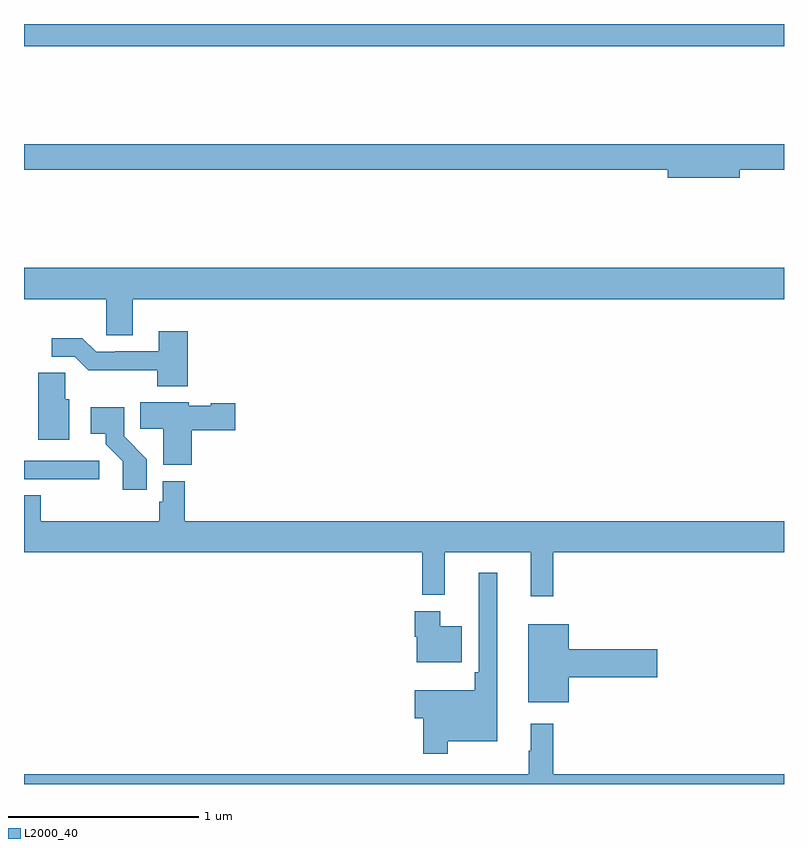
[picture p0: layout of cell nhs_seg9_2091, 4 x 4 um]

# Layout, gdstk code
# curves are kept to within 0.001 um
import gdstk
lib = gdstk.Library(unit=1e-6, precision=1e-09)
def R(c, l, rs):  # rectangles x0, y0, x1, y1
    for r in rs: c.add(gdstk.rectangle(r[:2], r[2:], *l))
def P(c, l, *ps):  # polygons
    for p in ps: c.add(gdstk.Polygon(p, *l))
L2000_40 = (2000, 40)

nhs_seg9_2091 = lib.new_cell('nhs_seg9_2091')
R(nhs_seg9_2091, L2000_40, [(229,1232.384,233,1232.5)])
P(nhs_seg9_2091, L2000_40, [(232.768,1231.732),(233,1231.732),(233,1231.868),(229,1231.868),(229,1231.732),(232.388,1231.732),(232.388,1231.69),(232.768,1231.69)],
  [(229.573,1231.052),(233,1231.052),(233,1231.216),(229,1231.216),(229,1231.052),(229.434,1231.052),(229.434,1230.862),(229.573,1230.862)],
  [(229.862,1230.883),(229.709,1230.883),(229.709,1230.777),(229.48,1230.777),(229.48,1230.774),(229.38,1230.774),(229.307,1230.847),(229.146,1230.847),(229.146,1230.75),(229.266,1230.75),(229.339,1230.677),(229.702,1230.678),(229.702,1230.593),(229.862,1230.593)],
  [(229.237,1230.525),(229.218,1230.525),(229.218,1230.665),(229.076,1230.665),(229.076,1230.312),(229.237,1230.312)],
  [(229.883,1230.361),(230.113,1230.361),(230.113,1230.503),(229.983,1230.503),(229.983,1230.49),(229.866,1230.49),(229.866,1230.508),(229.612,1230.508),(229.612,1230.37),(229.733,1230.37),(229.733,1230.179),(229.883,1230.179)],
  [(229.646,1230.21),(229.527,1230.329),(229.527,1230.484),(229.35,1230.484),(229.35,1230.344),(229.43,1230.344),(229.43,1230.289),(229.521,1230.199),(229.521,1230.048),(229.646,1230.048)],
  [(229.396,1230.201),(229,1230.201),(229,1230.105),(229.171,1230.105),(229.171,1230.103),(229.396,1230.103)],
  [(231.785,1229.72),(233,1229.72),(233,1229.884),(229.847,1229.884),(229.847,1230.094),(229.731,1230.094),(229.731,1229.985),(229.711,1229.985),(229.711,1229.884),(229.088,1229.884),(229.088,1230.02),(229,1230.02),(229,1229.72),(231.097,1229.72),(231.097,1229.495),(231.215,1229.495),(231.215,1229.72),(231.668,1229.72),(231.668,1229.487),(231.785,1229.487)],
  [(231.229,1228.724),(231.49,1228.724),(231.49,1229.611),(231.393,1229.611),(231.393,1229.089),(231.373,1229.089),(231.373,1228.993),(231.056,1228.993),(231.056,1228.846),(231.1,1228.846),(231.1,1228.659),(231.229,1228.659)],
  [(231.304,1229.329),(231.19,1229.329),(231.19,1229.41),(231.056,1229.41),(231.056,1229.274),(231.068,1229.274),(231.068,1229.141),(231.304,1229.141)],
  [(231.868,1229.063),(232.333,1229.063),(232.333,1229.21),(231.868,1229.21),(231.868,1229.341),(231.653,1229.341),(231.653,1228.931),(231.868,1228.931)],
  [(233,1228.552),(231.785,1228.552),(231.785,1228.816),(231.668,1228.816),(231.668,1228.676),(231.657,1228.676),(231.657,1228.552),(229,1228.552),(229,1228.5),(233,1228.5)])

lib.write_gds('nhs_seg9_2091.gds')
